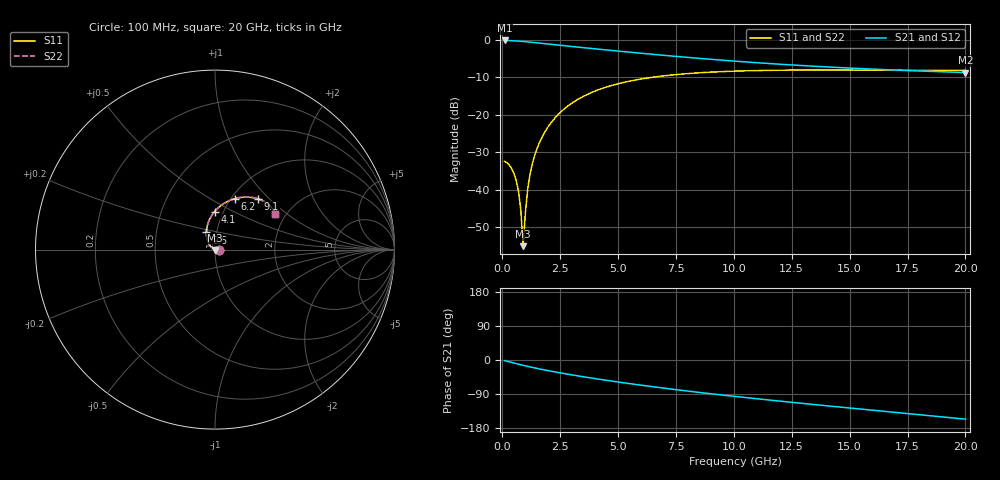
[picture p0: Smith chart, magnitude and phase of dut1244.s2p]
! Touchstone file exported from HFSS 2024.1.0
!  File:  C:/UserFiles/LocalFiles/RDL_TSV_Batchsim/temp_RDL_TSV_1244_1780268157.aedt
!  Generated:  07:12:32 AM Jun  1, 2026
!  Design:  RDL_TSV
!  Project:  temp_RDL_TSV_1244_1780268157
!  Setup:  Setup1
!  Solution:  Sweep
! Variables:
!  dtsv = 11.62um
!  hbump = 3um
!  htsv = 94.57um
!  ldown = 130.59um
!  lrdl = 307.79um
!  p = 40
!  p1 = 57.63um
!  rhole = 10um
!  subl = 1622.93um
!  t = 450um
!  tdown = 2.25um
!  trdl = 2.2um
!  viad = 10um
!  wdown = 11.67um
!  wrdl = 10.3um
!  xbump = 18um
# GHz S MA R 50.000000
! Terminal data exported
! Port[1] = TM1_1_T1
! Port[2] = TM1_4_T1
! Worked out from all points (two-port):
!   200 points, 100 MHz to 20 GHz, reference 50 ohm
!   highest |S21| = -0.22 dB at 100 MHz (marker M1); lowest = -8.8 dB at 20 GHz (marker M2)
!   |S21| within 3 dB of the highest: start of sweep to 5.284 GHz
!   lowest |S11| = -55.0 dB at 900 MHz (marker M3), VSWR 1.00, Z = 50 - j0.172 ohm
!   |S11| at or under -10 dB: start of sweep to 6.521 GHz
!   |S22| runs from -55.1 to -8.1 dB; largest |S21 - S12| = 9.3e-15
!   S11 on the Smith chart (normalised r, x): 100 MHz: 1.05, -0.00; 2.5 GHz: 0.89, +0.17; 4.1 GHz: 0.91, +0.40; 6.2 GHz: 1.04, +0.66; 9.1 GHz: 1.31, +0.86; 20 GHz: 1.76, +0.83
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0.1  0.02388 -3.6  0.9754 -1.6  0.9754 -1.6  0.02388 -3.6
! Gamma 0 0 0 0
! Port Impedance 50 0 50 0
0.4  0.01925 -14.7  0.9693 -6.5  0.9693 -6.5  0.01924 -14.7
0.6  0.01329 -23.5  0.9617 -9.6  0.9617 -9.6  0.01326 -23.5
0.7  0.009536 -29.6  0.957 -11.1  0.957 -11.1  0.009501 -29.6
0.8  0.005383 -40.9  0.9518 -12.6  0.9518 -12.6  0.005339 -41.0
0.9  0.001768 -103.2  0.9462 -14.1  0.9462 -14.1  0.001753 -104.9
1  0.005074 171.8  0.9402 -15.5  0.9402 -15.5  0.005137 171.5
1.1  0.01042 158.6  0.934 -16.9  0.934 -16.9  0.0105 158.5
1.2  0.01621 152.3  0.9275 -18.3  0.9275 -18.3  0.01631 152.3
1.3  0.02232 147.9  0.9209 -19.7  0.9209 -19.7  0.02243 147.9
1.5  0.03529 141.0  0.9073 -22.3  0.9073 -22.3  0.03544 141.0
1.8  0.05608 132.6  0.8868 -26.0  0.8868 -26.0  0.05628 132.6
2.5  0.1069 116.6  0.8407 -33.9  0.8407 -33.9  0.1072 116.6
3.5  0.1756 99.0  0.7815 -44.2  0.7815 -44.2  0.1762 99.0
4.1  0.2119 90.5  0.7491 -49.9  0.7491 -49.9  0.2125 90.5
6.2  0.3059 68.3  0.6496 -68.2  0.6496 -68.2  0.3068 68.4
6.8  0.3244 63.6  0.6248 -73.0  0.6248 -73.0  0.3254 63.6
9.1  0.3703 49.6  0.5438 -89.7  0.5438 -89.7  0.3715 49.7
10.1  0.381 45.1  0.5151 -96.5  0.5151 -96.5  0.3822 45.2
13.4  0.3934 35.4  0.4431 -117.2  0.4431 -117.2  0.3947 35.4
16.7  0.3904 31.2  0.3963 -136.7  0.3963 -136.7  0.3917 31.3
20  0.3896 30.8  0.3642 -156.1  0.3642 -156.1  0.3909 30.9
